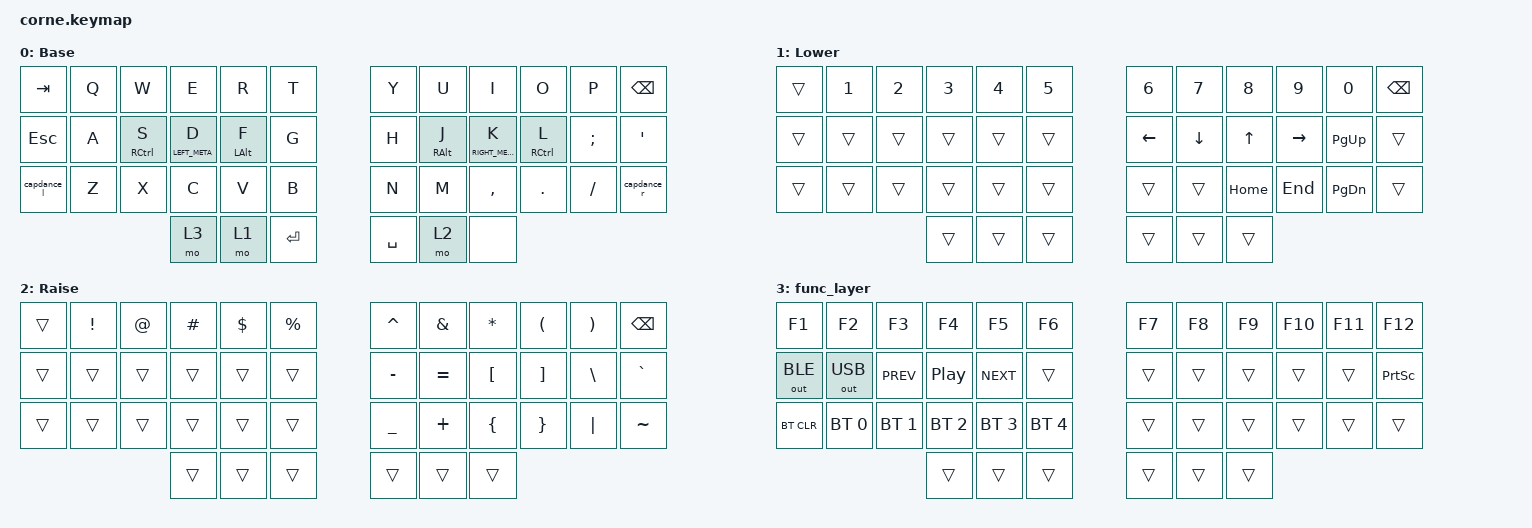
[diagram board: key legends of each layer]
/*
 * Copyright (c) 2020 The ZMK Contributors
 *
 * SPDX-License-Identifier: MIT
 */

#include <behaviors.dtsi>
#include <dt-bindings/zmk/bt.h>
#include <dt-bindings/zmk/keys.h>
#include <dt-bindings/zmk/outputs.h>

/ {
    behaviors {
        hml: hml {
            compatible = "zmk,behavior-hold-tap";
            label = "HML";
            bindings = <&kp>, <&kp>;

            #binding-cells = <2>;
            require-prior-idle-ms = <150>;
            flavor = "balanced";
            tapping-term-ms = <280>;
            quick-tap-ms = <175>;
            hold-trigger-key-positions = <6 7 8 9 10 6 7 9 10 11 18 19 20 21 22 23 30 31 32 33 34 35 39 40 41 36 37 38>;
            hold-trigger-on-release;
        };

        hmr: hmr {
            compatible = "zmk,behavior-hold-tap";
            label = "HMR";
            bindings = <&kp>, <&kp>;

            #binding-cells = <2>;
            tapping-term-ms = <280>;
            quick-tap-ms = <175>;
            require-prior-idle-ms = <150>;
            flavor = "balanced";
            hold-trigger-key-positions = <0 1 2 3 4 5 12 13 14 15 16 17 24 25 26 27 28 29 36 37 38 39 40 41>;
            hold-trigger-on-release;
        };

        capdance_l: capdance_l {
            compatible = "zmk,behavior-tap-dance";
            label = "CAPDANCE_L";
            #binding-cells = <0>;
            bindings = <&kp LEFT_SHIFT>, <&caps_word>;
        };

        capdance_r: capdance_r {
            compatible = "zmk,behavior-tap-dance";
            label = "CAPDANCE_R";
            #binding-cells = <0>;
            bindings = <&kp RIGHT_SHIFT>, <&caps_word>;
        };
    };

    keymap {
        compatible = "zmk,keymap";

        default_layer {
            // -----------------------------------------------------------------------------------------
            // |  TAB |  Q  |  W  |  E  |  R  |  T  |   |  Y  |  U   |  I  |  O  |  P  | BKSP |
            // | CTRL |  A  |  S  |  D  |  F  |  G  |   |  H  |  J   |  K  |  L  |  ;  |  '   |
            // | SHFT |  Z  |  X  |  C  |  V  |  B  |   |  N  |  M   |  ,  |  .  |  /  | ESC  |
            //                    | GUI | LWR | SPC |   | ENT | RSE  | ALT |

            display-name = "Base";
            bindings = <
&kp TAB      &kp Q  &kp W         &kp E             &kp R            &kp T        &kp Y      &kp U             &kp I              &kp O         &kp P          &kp BACKSPACE
&kp ESCAPE   &kp A  &hml RCTRL S  &hml LEFT_META D  &hml LEFT_ALT F  &kp G        &kp H      &hmr RIGHT_ALT J  &hmr RIGHT_META K  &hmr RCTRL L  &kp SEMICOLON  &kp SQT
&capdance_l  &kp Z  &kp X         &kp C             &kp V            &kp B        &kp N      &kp M             &kp COMMA          &kp DOT       &kp FSLH       &capdance_r
                                  &mo 3             &mo 1            &kp ENTER    &kp SPACE  &mo 2             &none
            >;
        };

        lower_layer {
            // -----------------------------------------------------------------------------------------
            // |  TAB |  1  |  2  |  3  |  4  |  5  |   |  6  |  7  |  8  |  9  |  0  | BKSP |
            // | BTCLR| BT1 | BT2 | BT3 | BT4 | BT5 |   | LFT | DWN |  UP | RGT |     |      |
            // | SHFT |     |     |     |     |     |   |     |     |     |     |     |      |
            //                    | GUI |     | SPC |   | ENT |     | ALT |

            display-name = "Lower";
            bindings = <
&trans  &kp N1  &kp N2  &kp N3  &kp N4  &kp N5    &kp N6    &kp N7    &kp N8    &kp N9     &kp N0         &kp BACKSPACE
&trans  &trans  &trans  &trans  &trans  &trans    &kp LEFT  &kp DOWN  &kp UP    &kp RIGHT  &kp PAGE_UP    &trans
&trans  &trans  &trans  &trans  &trans  &trans    &trans    &trans    &kp HOME  &kp END    &kp PAGE_DOWN  &trans
                        &trans  &trans  &trans    &trans    &trans    &trans
            >;
        };

        raise_layer {
            // -----------------------------------------------------------------------------------------
            // |  TAB |  !  |  @  |  #  |  $  |  %  |   |  ^  |  &  |  *  |  (  |  )  | BKSP |
            // | CTRL |     |     |     |     |     |   |  -  |  =  |  [  |  ]  |  \  |  `   |
            // | SHFT |     |     |     |     |     |   |  _  |  +  |  {  |  }  | "|" |  ~   |
            //                    | GUI |     | SPC |   | ENT |     | ALT |

            display-name = "Raise";
            bindings = <
&trans  &kp EXCL  &kp AT  &kp HASH  &kp DLLR  &kp PRCNT    &kp CARET  &kp AMPS   &kp ASTRK  &kp LPAR  &kp RPAR  &kp BACKSPACE
&trans  &trans    &trans  &trans    &trans    &trans       &kp MINUS  &kp EQUAL  &kp LBKT   &kp RBKT  &kp BSLH  &kp GRAVE
&trans  &trans    &trans  &trans    &trans    &trans       &kp UNDER  &kp PLUS   &kp LBRC   &kp RBRC  &kp PIPE  &kp TILDE
                          &trans    &trans    &trans       &trans     &trans     &trans
            >;
        };

        func_layer {
            bindings = <
&kp F1        &kp F2        &kp F3        &kp F4            &kp F5        &kp F6          &kp F7  &kp F8  &kp F9  &kp F10  &kp F11  &kp F12
&out OUT_BLE  &out OUT_USB  &kp C_PREV    &kp C_PLAY_PAUSE  &kp C_NEXT    &trans          &trans  &trans  &trans  &trans   &trans   &kp PRINTSCREEN
&bt BT_CLR    &bt BT_SEL 0  &bt BT_SEL 1  &bt BT_SEL 2      &bt BT_SEL 3  &bt BT_SEL 4    &trans  &trans  &trans  &trans   &trans   &trans
                                          &trans            &trans        &trans          &trans  &trans  &trans
            >;
        };
    };
};
